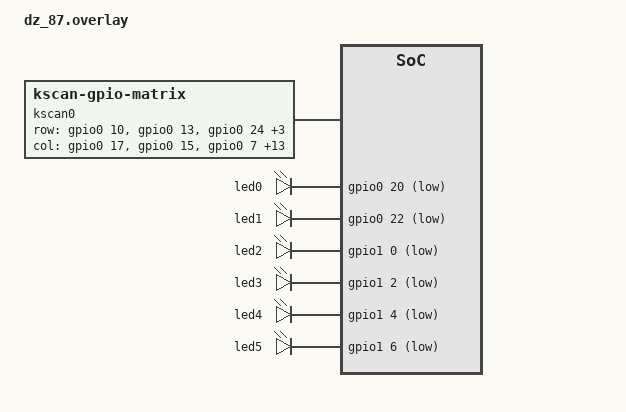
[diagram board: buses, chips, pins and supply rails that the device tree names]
#include <dt-bindings/gpio/gpio.h>
#include "dz_87-layouts.dtsi"

/ {
    chosen {
        zmk,kscan = &kscan0;
        zmk,physical-layout = <&dz87_625>;
    };

    // CZM DZ 87 wireless TKL: 6 x 16 key matrix (96 positions).
    //
    // Hardware diode wiring (confirmed by hardware designer): diodes point
    // from COL to ROW (anode on the column line, cathode on the row line),
    // i.e. ZMK "col2row". ZMK's kscan-gpio-matrix scans ACTIVE-HIGH: columns
    // are strobed HIGH one at a time (GPIO_ACTIVE_HIGH outputs), rows are
    // inputs with internal pull-down; a pressed key pulls the row HIGH through
    // the diode. This matches the official ZMK col2row wiring (corne, contra,
    // eek shields): col-gpios = GPIO_ACTIVE_HIGH,
    // row-gpios = GPIO_ACTIVE_HIGH | GPIO_PULL_DOWN.
    kscan0: kscan {
        compatible = "zmk,kscan-gpio-matrix";
        wakeup-source;
        debounce-press-ms = <5>;
        debounce-release-ms = <5>;

        diode-direction = "col2row";

        // Rows = sense inputs (internal pull-down; pressed -> pulled high -> active-high)
        row-gpios
            = <&gpio0 10 (GPIO_ACTIVE_HIGH | GPIO_PULL_DOWN)>   // R0
            , <&gpio0 13 (GPIO_ACTIVE_HIGH | GPIO_PULL_DOWN)>   // R1
            , <&gpio0 24 (GPIO_ACTIVE_HIGH | GPIO_PULL_DOWN)>   // R2
            , <&gpio0  9 (GPIO_ACTIVE_HIGH | GPIO_PULL_DOWN)>   // R3
            , <&gpio0 28 (GPIO_ACTIVE_HIGH | GPIO_PULL_DOWN)>   // R4
            , <&gpio1 10 (GPIO_ACTIVE_HIGH | GPIO_PULL_DOWN)>   // R5
            ;

        // Cols = strobe outputs (idle low; driven HIGH one at a time to scan)
        col-gpios
            = <&gpio0 17 GPIO_ACTIVE_HIGH>   // C0
            , <&gpio0 15 GPIO_ACTIVE_HIGH>   // C1
            , <&gpio0  7 GPIO_ACTIVE_HIGH>   // C2
            , <&gpio1  9 GPIO_ACTIVE_HIGH>   // C3
            , <&gpio0  5 GPIO_ACTIVE_HIGH>   // C4
            , <&gpio0 12 GPIO_ACTIVE_HIGH>   // C5
            , <&gpio0  4 GPIO_ACTIVE_HIGH>   // C6
            , <&gpio0  8 GPIO_ACTIVE_HIGH>   // C7
            , <&gpio0  6 GPIO_ACTIVE_HIGH>   // C8
            , <&gpio0 26 GPIO_ACTIVE_HIGH>   // C9
            , <&gpio0 30 GPIO_ACTIVE_HIGH>   // C10
            , <&gpio0 29 GPIO_ACTIVE_HIGH>   // C11
            , <&gpio0  2 GPIO_ACTIVE_HIGH>   // C12
            , <&gpio1 13 GPIO_ACTIVE_HIGH>   // C13
            , <&gpio0  3 GPIO_ACTIVE_HIGH>   // C14
            , <&gpio1 11 GPIO_ACTIVE_HIGH>   // C15
            ;
    };

    // Monochrome indicator LEDs.
    // Wiring per LED: 3.3V rail -> resistor -> LED anode (+),
    //                 LED cathode (-) -> GPIO.
    // Active-low: GPIO driven LOW turns the LED on (handled by gpio-leds).
    // NOTE: led index must match LED_* in src/czm_dz_87_indicator.c.
    //   CAPS / SL are on gpio0; BLE1..3 / USB are on gpio1.
    // (P0.31 STBY is the hardware charge lamp chain and is NOT managed here.)
    leds {
        compatible = "gpio-leds";
        label = "CZM DZ 87 indicator LEDs";
        led0: led_0 { gpios = <&gpio0 20 GPIO_ACTIVE_LOW>; };  // CapsLock
        led1: led_1 { gpios = <&gpio0 22 GPIO_ACTIVE_LOW>; };  // ScrollLock
        led2: led_2 { gpios = <&gpio1  0 GPIO_ACTIVE_LOW>; };  // BLE profile 1
        led3: led_3 { gpios = <&gpio1  2 GPIO_ACTIVE_LOW>; };  // BLE profile 2
        led4: led_4 { gpios = <&gpio1  4 GPIO_ACTIVE_LOW>; };  // BLE profile 3
        led5: led_5 { gpios = <&gpio1  6 GPIO_ACTIVE_LOW>; };  // USB output
    };
};
